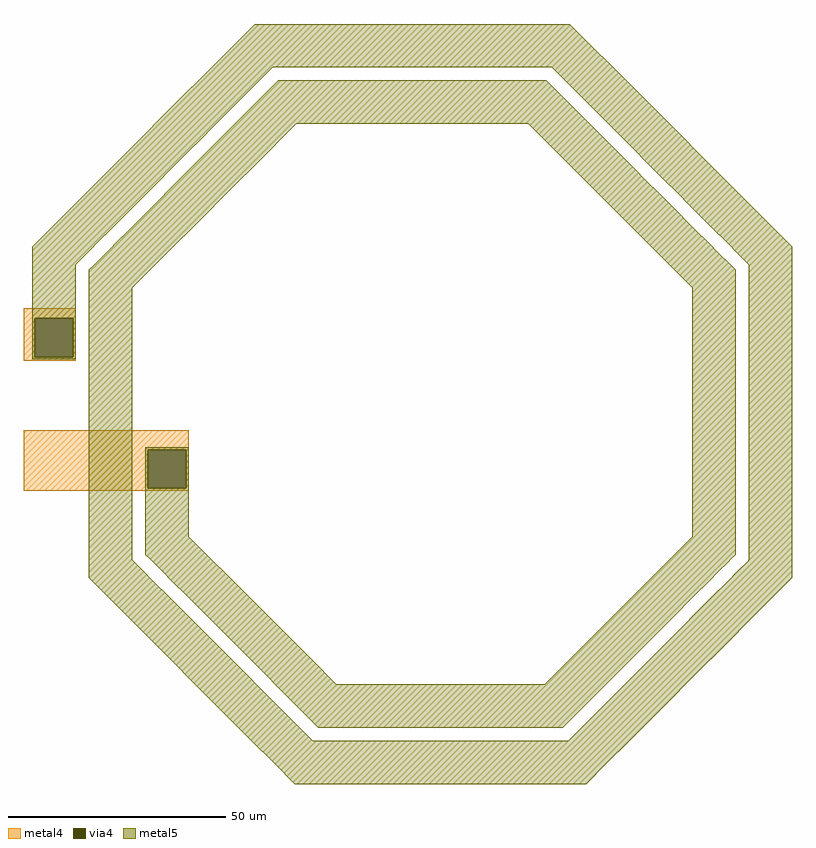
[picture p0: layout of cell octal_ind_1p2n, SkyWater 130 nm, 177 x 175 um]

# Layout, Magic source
magic
tech sky130A
magscale 1 2
<< metal4 >>
rect -39200 -16062 -36800 -15600
rect -39200 -17838 -38688 -16062
rect -36912 -17838 -36800 -16062
rect -39200 -18000 -36800 -17838
rect -39200 -22112 -31600 -21200
rect -39200 -23888 -33488 -22112
rect -31712 -23888 -31600 -22112
rect -39200 -24000 -31600 -23888
<< via4 >>
rect -38688 -17838 -36912 -16062
rect -33488 -23888 -31712 -22112
<< metal5 >>
tri -29472 -3423 -28549 -2500 se
rect -28549 -3423 -14051 -2500
tri -14051 -3423 -13128 -2500 sw
tri -30549 -4500 -29472 -3423 se
rect -29472 -4500 -13128 -3423
tri -13128 -4500 -12051 -3423 sw
tri -32301 -6252 -30549 -4500 se
rect -30549 -5100 -28320 -4500
tri -28320 -5100 -27720 -4500 nw
tri -14880 -5100 -14280 -4500 ne
rect -14280 -5100 -12051 -4500
rect -30549 -5948 -29168 -5100
tri -29168 -5948 -28320 -5100 nw
tri -28320 -5948 -27472 -5100 se
rect -27472 -5948 -15128 -5100
tri -15128 -5948 -14280 -5100 sw
tri -14280 -5948 -13432 -5100 ne
rect -13432 -5948 -12051 -5100
rect -30549 -6252 -29472 -5948
tri -29472 -6252 -29168 -5948 nw
tri -28624 -6252 -28320 -5948 se
rect -28320 -6252 -14280 -5948
tri -14280 -6252 -13976 -5948 sw
tri -13432 -6252 -13128 -5948 ne
rect -13128 -6252 -12051 -5948
tri -34200 -8151 -32301 -6252 se
rect -32301 -7100 -30320 -6252
tri -30320 -7100 -29472 -6252 nw
tri -29472 -7100 -28624 -6252 se
rect -28624 -7100 -13976 -6252
tri -13976 -7100 -13128 -6252 sw
tri -13128 -7100 -12280 -6252 ne
rect -12280 -7100 -12051 -6252
tri -12051 -7100 -9451 -4500 sw
rect -32301 -7948 -31168 -7100
tri -31168 -7948 -30320 -7100 nw
tri -30320 -7948 -29472 -7100 se
rect -29472 -7948 -28542 -7100
rect -32301 -8151 -31453 -7948
tri -35130 -9081 -34200 -8151 se
rect -34200 -8233 -31453 -8151
tri -31453 -8233 -31168 -7948 nw
tri -30605 -8233 -30320 -7948 se
rect -30320 -8233 -28542 -7948
rect -34200 -9081 -32301 -8233
tri -32301 -9081 -31453 -8233 nw
tri -31453 -9081 -30605 -8233 se
rect -30605 -8999 -28542 -8233
tri -28542 -8999 -26643 -7100 nw
tri -15957 -8999 -14058 -7100 ne
rect -14058 -7948 -13128 -7100
tri -13128 -7948 -12280 -7100 sw
tri -12280 -7948 -11432 -7100 ne
rect -11432 -7948 -9451 -7100
rect -14058 -8151 -12280 -7948
tri -12280 -8151 -12077 -7948 sw
tri -11432 -8151 -11229 -7948 ne
rect -11229 -8151 -9451 -7948
rect -14058 -8999 -12077 -8151
tri -12077 -8999 -11229 -8151 sw
tri -11229 -8999 -10381 -8151 ne
rect -10381 -8999 -9451 -8151
tri -9451 -8999 -7552 -7100 sw
rect -30605 -9081 -29472 -8999
tri -36800 -10751 -35130 -9081 se
rect -35130 -9929 -33149 -9081
tri -33149 -9929 -32301 -9081 nw
tri -32301 -9929 -31453 -9081 se
rect -31453 -9929 -29472 -9081
tri -29472 -9929 -28542 -8999 nw
tri -14058 -9929 -13128 -8999 ne
rect -13128 -9847 -11229 -8999
tri -11229 -9847 -10381 -8999 sw
tri -10381 -9847 -9533 -8999 ne
rect -9533 -9847 -7552 -8999
rect -13128 -9929 -10381 -9847
rect -35130 -10751 -33997 -9929
tri -37029 -10980 -36800 -10751 se
rect -36800 -10777 -33997 -10751
tri -33997 -10777 -33149 -9929 nw
tri -33149 -10777 -32301 -9929 se
rect -32301 -10777 -31371 -9929
rect -36800 -10980 -34200 -10777
tri -34200 -10980 -33997 -10777 nw
tri -33352 -10980 -33149 -10777 se
rect -33149 -10980 -31371 -10777
tri -38800 -12751 -37029 -10980 se
rect -37029 -11828 -35048 -10980
tri -35048 -11828 -34200 -10980 nw
tri -34200 -11828 -33352 -10980 se
rect -33352 -11828 -31371 -10980
tri -31371 -11828 -29472 -9929 nw
tri -13128 -11828 -11229 -9929 ne
rect -11229 -10132 -10381 -9929
tri -10381 -10132 -10096 -9847 sw
tri -9533 -10132 -9248 -9847 ne
rect -9248 -10132 -7552 -9847
rect -11229 -10980 -10096 -10132
tri -10096 -10980 -9248 -10132 sw
tri -9248 -10980 -8400 -10132 ne
rect -8400 -10980 -7552 -10132
rect -11229 -11828 -9248 -10980
tri -9248 -11828 -8400 -10980 sw
tri -8400 -11828 -7552 -10980 ne
tri -7552 -11828 -4723 -8999 sw
rect -37029 -12676 -35896 -11828
tri -35896 -12676 -35048 -11828 nw
tri -35048 -12676 -34200 -11828 se
rect -34200 -12676 -32301 -11828
rect -37029 -12751 -35978 -12676
rect -38800 -12758 -35978 -12751
tri -35978 -12758 -35896 -12676 nw
tri -35130 -12758 -35048 -12676 se
rect -35048 -12758 -32301 -12676
tri -32301 -12758 -31371 -11828 nw
tri -11229 -12758 -10299 -11828 ne
rect -10299 -12676 -8400 -11828
tri -8400 -12676 -7552 -11828 sw
tri -7552 -12676 -6704 -11828 ne
rect -6704 -12676 -4723 -11828
rect -10299 -12758 -7552 -12676
rect -38800 -12980 -36200 -12758
tri -36200 -12980 -35978 -12758 nw
tri -35352 -12980 -35130 -12758 se
rect -35130 -12980 -34200 -12758
rect -38800 -16062 -36800 -12980
tri -36800 -13580 -36200 -12980 nw
tri -35952 -13580 -35352 -12980 se
rect -35352 -13580 -34200 -12980
rect -38800 -17838 -38688 -16062
rect -36912 -17838 -36800 -16062
rect -38800 -17950 -36800 -17838
tri -36200 -13828 -35952 -13580 se
rect -35952 -13828 -34200 -13580
rect -36200 -27782 -34200 -13828
tri -34200 -14657 -32301 -12758 nw
tri -10299 -14657 -8400 -12758 ne
rect -8400 -12980 -7552 -12758
tri -7552 -12980 -7248 -12676 sw
tri -6704 -12980 -6400 -12676 ne
rect -6400 -12751 -4723 -12676
tri -4723 -12751 -3800 -11828 sw
rect -6400 -12980 -3800 -12751
rect -8400 -13580 -7248 -12980
tri -7248 -13580 -6648 -12980 sw
tri -6400 -13580 -5800 -12980 ne
rect -8400 -13828 -6648 -13580
tri -6648 -13828 -6400 -13580 sw
rect -33600 -22112 -31600 -22000
rect -33600 -23888 -33488 -22112
rect -31712 -23888 -31600 -22112
rect -33600 -26933 -31600 -23888
tri -33600 -27182 -33351 -26933 ne
rect -33351 -27182 -31600 -26933
tri -34200 -27782 -33600 -27182 sw
tri -33351 -27782 -32751 -27182 ne
rect -32751 -27782 -31600 -27182
rect -36200 -28010 -33600 -27782
tri -36200 -28933 -35277 -28010 ne
rect -35277 -28084 -33600 -28010
tri -33600 -28084 -33298 -27782 sw
tri -32751 -28084 -32449 -27782 ne
rect -32449 -28084 -31600 -27782
rect -35277 -28933 -33298 -28084
tri -33298 -28933 -32449 -28084 sw
tri -32449 -28933 -31600 -28084 ne
tri -31600 -28933 -28772 -26105 sw
tri -9539 -27244 -8400 -26105 se
rect -8400 -26933 -6400 -13828
rect -8400 -27182 -6649 -26933
tri -6649 -27182 -6400 -26933 nw
rect -8400 -27244 -6711 -27182
tri -6711 -27244 -6649 -27182 nw
tri -5862 -27244 -5800 -27182 se
rect -5800 -27244 -3800 -12980
tri -11228 -28933 -9539 -27244 se
rect -9539 -27782 -7249 -27244
tri -7249 -27782 -6711 -27244 nw
tri -6400 -27782 -5862 -27244 se
rect -5862 -27782 -3800 -27244
rect -9539 -28084 -7551 -27782
tri -7551 -28084 -7249 -27782 nw
tri -6702 -28084 -6400 -27782 se
rect -6400 -28010 -3800 -27782
rect -6400 -28084 -5572 -28010
rect -9539 -28933 -8400 -28084
tri -8400 -28933 -7551 -28084 nw
tri -7551 -28933 -6702 -28084 se
rect -6702 -28933 -5572 -28084
tri -35277 -31761 -32449 -28933 ne
tri -32449 -29782 -31600 -28933 sw
tri -31600 -29782 -30751 -28933 ne
rect -30751 -29782 -28772 -28933
rect -32449 -30631 -31600 -29782
tri -31600 -30631 -30751 -29782 sw
tri -30751 -30631 -29902 -29782 ne
rect -29902 -30631 -28772 -29782
rect -32449 -30912 -30751 -30631
tri -30751 -30912 -30470 -30631 sw
tri -29902 -30912 -29621 -30631 ne
rect -29621 -30912 -28772 -30631
rect -32449 -31761 -30470 -30912
tri -30470 -31761 -29621 -30912 sw
tri -29621 -31761 -28772 -30912 ne
tri -28772 -31761 -25944 -28933 sw
tri -12367 -30072 -11228 -28933 se
rect -11228 -29782 -9249 -28933
tri -9249 -29782 -8400 -28933 nw
tri -8400 -29782 -7551 -28933 se
rect -7551 -29782 -5572 -28933
tri -5572 -29782 -3800 -28010 nw
rect -11228 -30072 -9539 -29782
tri -9539 -30072 -9249 -29782 nw
tri -8690 -30072 -8400 -29782 se
rect -8400 -30010 -5800 -29782
tri -5800 -30010 -5572 -29782 nw
rect -8400 -30072 -6711 -30010
tri -14056 -31761 -12367 -30072 se
rect -12367 -30921 -10388 -30072
tri -10388 -30921 -9539 -30072 nw
tri -9539 -30921 -8690 -30072 se
rect -8690 -30921 -6711 -30072
tri -6711 -30921 -5800 -30010 nw
rect -12367 -31761 -11237 -30921
tri -32449 -32900 -31310 -31761 ne
rect -31310 -32610 -29621 -31761
tri -29621 -32610 -28772 -31761 sw
tri -28772 -32610 -27923 -31761 ne
rect -27923 -32610 -25944 -31761
rect -31310 -32900 -28772 -32610
tri -28772 -32900 -28482 -32610 sw
tri -27923 -32900 -27633 -32610 ne
rect -27633 -32900 -25944 -32610
tri -25944 -32900 -24805 -31761 sw
tri -15195 -32900 -14056 -31761 se
rect -14056 -31770 -11237 -31761
tri -11237 -31770 -10388 -30921 nw
tri -10388 -31770 -9539 -30921 se
rect -9539 -31770 -8400 -30921
rect -14056 -32051 -11518 -31770
tri -11518 -32051 -11237 -31770 nw
tri -10669 -32051 -10388 -31770 se
rect -10388 -32051 -8400 -31770
rect -14056 -32900 -12367 -32051
tri -12367 -32900 -11518 -32051 nw
tri -11518 -32900 -10669 -32051 se
rect -10669 -32610 -8400 -32051
tri -8400 -32610 -6711 -30921 nw
rect -10669 -32900 -9539 -32610
tri -31310 -35500 -28710 -32900 ne
rect -28710 -33749 -28482 -32900
tri -28482 -33749 -27633 -32900 sw
tri -27633 -33749 -26784 -32900 ne
rect -26784 -33749 -13216 -32900
tri -13216 -33749 -12367 -32900 nw
tri -12367 -33749 -11518 -32900 se
rect -11518 -33749 -9539 -32900
tri -9539 -33749 -8400 -32610 nw
rect -28710 -34051 -27633 -33749
tri -27633 -34051 -27331 -33749 sw
tri -26784 -34051 -26482 -33749 ne
rect -26482 -34051 -13518 -33749
tri -13518 -34051 -13216 -33749 nw
tri -12669 -34051 -12367 -33749 se
rect -12367 -34051 -11290 -33749
rect -28710 -34900 -27331 -34051
tri -27331 -34900 -26482 -34051 sw
tri -26482 -34900 -25633 -34051 ne
rect -25633 -34900 -14367 -34051
tri -14367 -34900 -13518 -34051 nw
tri -13518 -34900 -12669 -34051 se
rect -12669 -34900 -11290 -34051
rect -28710 -35500 -26482 -34900
tri -26482 -35500 -25882 -34900 sw
tri -14118 -35500 -13518 -34900 se
rect -13518 -35500 -11290 -34900
tri -11290 -35500 -9539 -33749 nw
tri -28710 -36577 -27633 -35500 ne
rect -27633 -36577 -12367 -35500
tri -12367 -36577 -11290 -35500 nw
tri -27633 -37500 -26710 -36577 ne
rect -26710 -37500 -13290 -36577
tri -13290 -37500 -12367 -36577 nw
<< end >>
